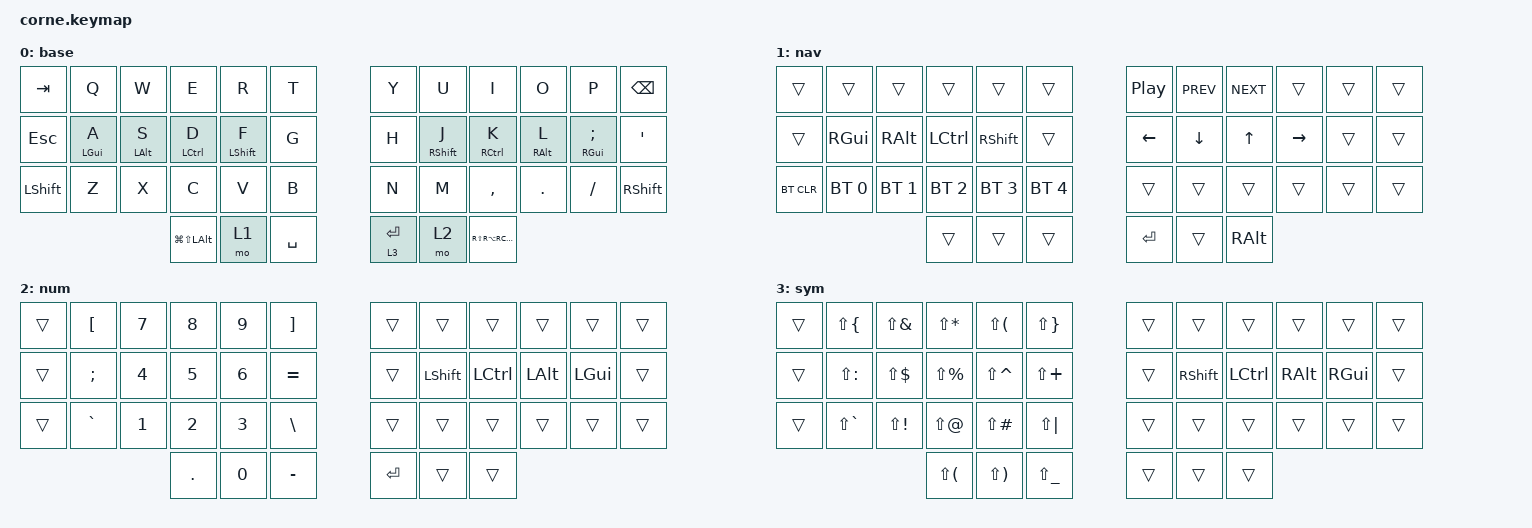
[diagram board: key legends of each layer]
/*
 * Copyright (c) 2020 The ZMK Contributors
 *
 * SPDX-License-Identifier: MIT
 */

#include <behaviors.dtsi>
#include <dt-bindings/zmk/bt.h>
#include <dt-bindings/zmk/keys.h>

#include "../zmk-nodefree-config/helper.h"
#include "../zmk-nodefree-config/keypos_def/keypos_42keys.h"

#define KEYS_L LT0 LT1 LT2 LT3 LT4 LM0 LM1 LM2 LM3 LM4 LB0 LB1 LB2 LB3 LB4
#define KEYS_R RT0 RT1 RT2 RT3 RT4 RM0 RM1 RM2 RM3 RM4 RB0 RB1 RB2 RB3 RB4
#define KEYS_T LH2 LH1 LH0 RH0 RH1 RH2

/* Homerow mods */
#define HM_TAPPING_TERM 300
#define HM_TAPPING_TERM_FAST 200
#define HM_PRIOR_IDLE 150

/ {

    behaviors {

        // Positional Homerow mods
        // Homerow mods that prevent accidental activations when rolling keys,
        // such as when typing `st` or `ne` on colemak-dh layouts or `as` on
        // qwerty.
        //
        // Works by only allowing a mod to activate within tapping-term if
        // it's on the opposite side of the keyboard or on the same side thumb
        // keys.

        // Further optimization using urob's timerless homerow mods method:
        // https://github.com/urob/zmk-config#timeless-homerow-mods
        hm_l: homerow_mods_left {
            compatible = "zmk,behavior-hold-tap";
            #binding-cells = <2>;
            bindings = <&kp>,  <&kp>;

            flavor = "balanced";
            tapping-term-ms = <HM_TAPPING_TERM>;
            quick-tap-ms = <175>;                // repeat on tap-into-hold
            require-prior-idle-ms = <HM_PRIOR_IDLE>;

            hold-trigger-key-positions = <KEYS_R KEYS_T>;
            hold-trigger-on-release;
        };

        hm_r: homerow_mods_right {
            compatible = "zmk,behavior-hold-tap";
            #binding-cells = <2>;
            bindings = <&kp>, <&kp>;

            flavor = "balanced";
            tapping-term-ms = <HM_TAPPING_TERM>;
            quick-tap-ms = <175>;
            require-prior-idle-ms = <HM_PRIOR_IDLE>;

            hold-trigger-key-positions = <KEYS_L KEYS_T>;
            hold-trigger-on-release;
        };


        // Positional Homerow mods for shift
        // Use faster tapping term and disable some features that may
        // cause false negatives.
        hm_shift_l: hm_shift_l {
            compatible = "zmk,behavior-hold-tap";
            #binding-cells = <2>;
            bindings = <&kp>, <&kp>;

            flavor = "balanced";
            tapping-term-ms = <HM_TAPPING_TERM_FAST>;
            quick-tap-ms = <175>;
            require-prior-idle-ms = <HM_PRIOR_IDLE>;

            hold-trigger-key-positions = <KEYS_R KEYS_T>;
            // hold-trigger-on-release;
        };

        hm_shift_r: hm_shift_r {
            compatible = "zmk,behavior-hold-tap";
            #binding-cells = <2>;
            bindings = <&kp>, <&kp>;

            flavor = "balanced";
            tapping-term-ms = <HM_TAPPING_TERM_FAST>;
            quick-tap-ms = <175>;
            require-prior-idle-ms = <HM_PRIOR_IDLE>;

            hold-trigger-key-positions = <KEYS_L KEYS_T>;
            // hold-trigger-on-release;
        };

        /*
         * Non-Positional Homerow Mods
         * Used for &mm_grescm_gui behavior on left hand.
         *
         * Usage: &hm LSHFT T
         * Tap: T
         * Tap-Tap-Hold: Repeat T
         * Hold: LSHIFT
         */
        hm: homerow_mods {
            compatible = "zmk,behavior-hold-tap";
            #binding-cells = <2>;
            bindings = <&kp>, <&kp>;

            flavor = "balanced";
            tapping-term-ms = <HM_TAPPING_TERM>;
            quick-tap-ms = <200>;
        };

    };

    keymap {
        compatible = "zmk,keymap";

        base {
            // -----------------------------------------------------------------------------------------
            // |  TAB |  Q  |  W  |  E  |  R  |  T  |---|  Y  |  U  |  I  |  O  |  P  | BKSP |
            // |  ESC |  A  |  S  |  D  |  F  |  G  |---|  H  |  J  |  K  |  L  |  ;  |  '   |
            // | SHFT |  Z  |  X  |  C  |  V  |  B  |---|  N  |  M  |  ,  |  .  |  /  | ESC  |
            //                    | MEH | LWR | SPC |---| RET | NUM | HPR |

            bindings = <
&kp TAB    &kp Q       &kp W       &kp E             &kp R        &kp T        &kp Y      &kp U        &kp I                 &kp O       &kp P          &kp BSPC
&kp ESC    &hm_l LGUI A  &hm_l LALT S  &hm_l LCTRL D       &hm_shift_l LSHFT F  &kp G        &kp H      &hm_shift_r RSHFT J  &hm_r RCTRL K           &hm_r RALT L  &hm_r RGUI SEMI  &kp SQT
&kp LSHFT  &kp Z       &kp X       &kp C             &kp V        &kp B        &kp N      &kp M        &kp COMMA             &kp DOT     &kp FSLH       &kp RSHFT
                                   &kp LG(LS(LALT))  &mo 1        &kp SPACE    &lt 3 RET  &mo 2        &kp RS(RA(RC(RGUI)))
            >;
        };

        nav {
            // -----------------------------------------------------------------------------------------
            // |      |     |     |     |     |     |---|  PP | PRE | NXT |     |     |      |
            // |      | GUI | ALT | CTL | SHF |     |---| LFT | DWN |  UP | RGT |     |      |
            // | BTCLR| BT0 | BT1 | BT2 | BT3 | BT4 |---|     |     |     |     |     |      |
            //                    |     |     |     |---|     |     |     |

            bindings = <
&trans      &trans        &trans        &trans        &trans        &trans          &kp C_PP  &kp C_PREV  &kp C_NEXT  &trans     &trans  &trans
&trans      &kp RGUI      &kp RALT      &kp LCTRL     &kp RSHFT     &trans          &kp LEFT  &kp DOWN    &kp UP      &kp RIGHT  &trans  &trans
&bt BT_CLR  &bt BT_SEL 0  &bt BT_SEL 1  &bt BT_SEL 2  &bt BT_SEL 3  &bt BT_SEL 4    &trans    &trans      &trans      &trans     &trans  &trans
                                        &trans        &trans        &trans          &kp RET   &trans      &kp RALT
            >;
        };

        num {
            // -----------------------------------------------------------------------------------------
            // |      |  [  |  7  |  8  |  9  |  ]  |---|     |     |     |     |     |      |
            // |      |  ;  |  4  |  5  |  6  |  =  |---|     | SHF | CTL | ALT | GUI |      |
            // |      |  `  |  1  |  2  |  3  |  \  |---|     |     |     |     |     |      |
            //                    |  .  |  0  |  -  |---|     |     |     |

            bindings = <
&trans  &kp LBKT   &kp N7  &kp N8      &kp N9  &kp RBKT     &trans   &trans      &trans     &trans    &trans    &trans
&trans  &kp SEMI   &kp N4  &kp N5      &kp N6  &kp EQUAL    &trans   &kp LSHIFT  &kp LCTRL  &kp LALT  &kp LGUI  &trans
&trans  &kp GRAVE  &kp N1  &kp N2      &kp N3  &kp BSLH     &trans   &trans      &trans     &trans    &trans    &trans
                           &kp PERIOD  &kp N0  &kp MINUS    &kp RET  &trans      &trans
            >;
        };

        sym {
            // -----------------------------------------------------------------------------------------
            // |      |  {  |  &  |  *  |  (  |  }  |---|     |     |     |     |     |      |
            // |      |  :  |  $  |  %  |  ^  |  +  |---|     | SHF | CTL | ALT | GUI |      |
            // |      |  ~  |  !  |  @  |  #  |  |  |---|     |     |     |     |     |      |
            //                    |  (  |  )  |  _  |---|     |     |     |
            bindings = <
&trans  &kp LS(LBRC)   &kp LS(AMPS)  &kp LS(STAR)   &kp LS(LPAR)   &kp LS(RBRC)     &trans  &trans     &trans     &trans    &trans    &trans
&trans  &kp LS(COLON)  &kp LS(DLLR)  &kp LS(PRCNT)  &kp LS(CARET)  &kp LS(PLUS)     &trans  &kp RSHFT  &kp LCTRL  &kp RALT  &kp RGUI  &trans
&trans  &kp LS(GRAVE)  &kp LS(EXCL)  &kp LS(AT)     &kp LS(POUND)  &kp LS(PIPE)     &trans  &trans     &trans     &trans    &trans    &trans
                                     &kp LS(LPAR)   &kp LS(RPAR)   &kp LS(UNDER)    &trans  &trans     &trans
            >;
        };
    };
};

